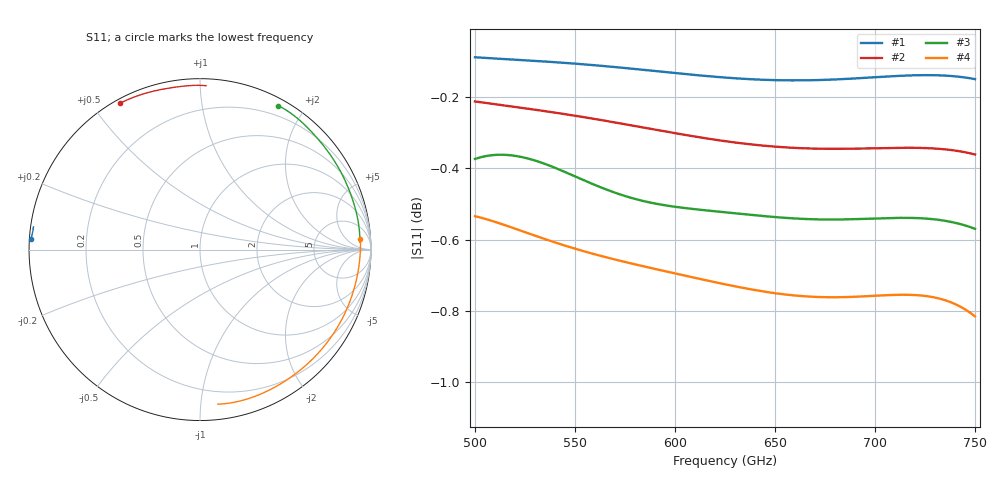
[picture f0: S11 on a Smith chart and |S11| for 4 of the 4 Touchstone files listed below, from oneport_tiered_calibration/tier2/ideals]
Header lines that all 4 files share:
!Created with skrf (http://scikit-rf.org).
# GHz S RI R 50.0
!freq ReS11 ImS11
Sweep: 500 GHz to 750 GHz
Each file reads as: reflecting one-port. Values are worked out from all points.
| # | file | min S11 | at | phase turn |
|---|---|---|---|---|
| 1 | ds1.s1p | -0.2 dB | 660 GHz | -4 deg |
| 2 | ds2.s1p | -0.4 dB | 750 GHz | -31 deg |
| 3 | ds3.s1p | -0.6 dB | 750 GHz | -59 deg |
| 4 | ds4.s1p | -0.8 dB | 750 GHz | -87 deg |
